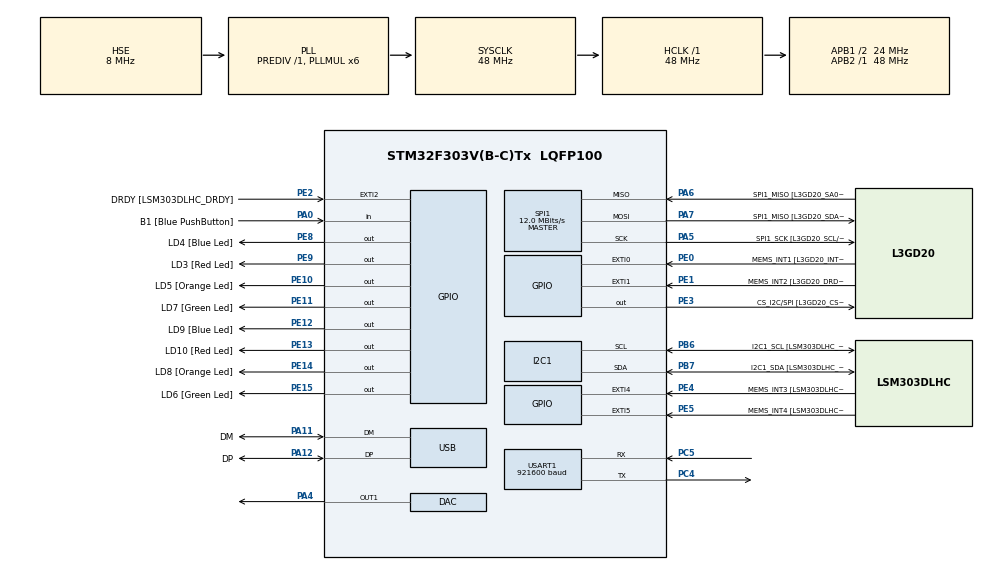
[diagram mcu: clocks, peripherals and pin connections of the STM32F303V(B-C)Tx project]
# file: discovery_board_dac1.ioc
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DAC.DAC_Trigger=DAC_TRIGGER_T6_TRGO
Dma.DAC_CH1.0.Direction=DMA_MEMORY_TO_PERIPH
Dma.DAC_CH1.0.Instance=DMA1_Channel3
Dma.DAC_CH1.0.MemDataAlignment=DMA_MDATAALIGN_HALFWORD
Dma.DAC_CH1.0.MemInc=DMA_MINC_ENABLE
Dma.DAC_CH1.0.Mode=DMA_CIRCULAR
Dma.DAC_CH1.0.PeriphDataAlignment=DMA_PDATAALIGN_HALFWORD
Dma.DAC_CH1.0.PeriphInc=DMA_PINC_DISABLE
Dma.DAC_CH1.0.Priority=DMA_PRIORITY_LOW
Dma.Request0=DAC_CH1
I2C1.Timing=0x00201D2B
I2C1.Timing-I2C=0x2000090E
Mcu.Family=STM32F3
Mcu.Name=STM32F303V(B-C)Tx
Mcu.Package=LQFP100
NVIC.DMA1_Channel3_IRQn=true\:0\:0\:false\:false\:true\:false\:true\:true
NVIC.PriorityGroup=NVIC_PRIORITYGROUP_0
NVIC.TIM6_DAC_IRQn=true\:0\:0\:false\:false\:true\:true\:true\:true
PA0.GPIO_Label=B1 [Blue PushButton]
PA0.Signal=GPIO_Input
PA11.GPIO_Label=DM
PA11.Mode=Device
PA11.Signal=USB_DM
PA12.GPIO_Label=DP
PA12.Mode=Device
PA12.Signal=USB_DP
PA13.GPIO_Label=SWDIO
PA13.Mode=Serial_Wire
PA13.Signal=SYS_JTMS-SWDIO
PA14.GPIO_Label=SWCLK
PA14.Mode=Serial_Wire
PA14.Signal=SYS_JTCK-SWCLK
PA4.Signal=COMP_DAC1_group
PA5.GPIO_Label=SPI1_SCK [L3GD20_SCL/SPC]
PA5.Mode=Full_Duplex_Master
PA5.Signal=SPI1_SCK
PA6.GPIO_Label=SPI1_MISO [L3GD20_SA0/SDO]
PA6.Mode=Full_Duplex_Master
PA6.Signal=SPI1_MISO
PA7.GPIO_Label=SPI1_MISO [L3GD20_SDA/SDI/SDO]
PA7.Mode=Full_Duplex_Master
PA7.Signal=SPI1_MOSI
PB3.GPIO_Label=SWO
PB3.Signal=SYS_JTDO-TRACESWO
PB6.GPIO_Label=I2C1_SCL [LSM303DLHC_SCL]
PB6.GPIO_Pu=GPIO_PULLUP
PB6.Mode=I2C
PB6.Signal=I2C1_SCL
PB7.GPIO_Label=I2C1_SDA [LSM303DLHC_SDA]
PB7.GPIO_Pu=GPIO_PULLUP
PB7.Mode=I2C
PB7.Signal=I2C1_SDA
PC14-OSC32_IN.GPIO_Label=OSC32_IN
PC14-OSC32_IN.Signal=RCC_OSC32_IN
PC15-OSC32_OUT.GPIO_Label=OSC32_OUT
PC15-OSC32_OUT.Signal=RCC_OSC32_OUT
PC4.Mode=Asynchronous
PC4.Signal=USART1_TX
PC5.Mode=Asynchronous
PC5.Signal=USART1_RX
PE0.GPIO_Label=MEMS_INT1 [L3GD20_INT1]
PE0.GPIO_ModeDefaultEXTI=GPIO_MODE_EVT_RISING
PE0.Signal=GPXTI0
PE1.GPIO_Label=MEMS_INT2 [L3GD20_DRDY/INT2]
PE1.GPIO_ModeDefaultEXTI=GPIO_MODE_EVT_RISING
PE1.Signal=GPXTI1
PE10.GPIO_Label=LD5 [Orange Led]
PE10.Signal=GPIO_Output
PE11.GPIO_Label=LD7 [Green Led]
PE11.Signal=GPIO_Output
PE12.GPIO_Label=LD9 [Blue Led]
PE12.Signal=GPIO_Output
PE13.GPIO_Label=LD10 [Red Led]
PE13.Signal=GPIO_Output
PE14.GPIO_Label=LD8 [Orange Led]
PE14.Signal=GPIO_Output
PE15.GPIO_Label=LD6 [Green Led]
PE15.Signal=GPIO_Output
PE2.GPIO_Label=DRDY [LSM303DLHC_DRDY]
PE2.GPIO_ModeDefaultEXTI=GPIO_MODE_EVT_RISING
PE2.Signal=GPXTI2
PE3.GPIO_Label=CS_I2C/SPI [L3GD20_CS_I2C/SPI]
PE3.Signal=GPIO_Output
PE4.GPIO_Label=MEMS_INT3 [LSM303DLHC_INT1]
PE4.GPIO_ModeDefaultEXTI=GPIO_MODE_EVT_RISING
PE4.Signal=GPXTI4
PE5.GPIO_Label=MEMS_INT4 [LSM303DLHC_INT2]
PE5.GPIO_ModeDefaultEXTI=GPIO_MODE_EVT_RISING
PE5.Signal=GPXTI5
PE8.GPIO_Label=LD4 [Blue Led]
PE8.Signal=GPIO_Output
PE9.GPIO_Label=LD3 [Red Led]
PE9.Signal=GPIO_Output
PF0-OSC_IN.GPIO_Label=OSC_IN
PF0-OSC_IN.Mode=HSE-External-Clock-Source
PF0-OSC_IN.Signal=RCC_OSC_IN
PF1-OSC_OUT.GPIO_Label=OSC_OUT
PF1-OSC_OUT.Signal=RCC_OSC_OUT
ProjectManager.HeapSize=0x200
ProjectManager.StackSize=0x400
ProjectManager.TargetToolchain=STM32CubeIDE
RCC.AHBFreq_Value=48000000
RCC.APB1CLKDivider=RCC_HCLK_DIV2
RCC.APB1Freq_Value=24000000
RCC.APB1TimFreq_Value=48000000
RCC.APB2Freq_Value=48000000
RCC.APB2TimFreq_Value=48000000
RCC.CortexFreq_Value=48000000
RCC.HCLKFreq_Value=48000000
RCC.HSE_VALUE=8000000
RCC.HSI_VALUE=8000000
RCC.LSE_VALUE=32768
RCC.PLLMUL=RCC_PLL_MUL6
RCC.SYSCLKFreq_VALUE=48000000
RCC.SYSCLKSourceVirtual=RCC_SYSCLKSOURCE_PLLCLK
RCC.USBFreq_Value=48000000
SH.COMP_DAC1_group.0=DAC_OUT1,DAC_OUT1
SPI1.BaudRatePrescaler=SPI_BAUDRATEPRESCALER_4
SPI1.BaudRatePrescaler-Full_Duplex_Master=SPI_BAUDRATEPRESCALER_2
SPI1.CalculateBaudRate=12.0 MBits/s
SPI1.CalculateBaudRate-Full_Duplex_Master=24.0 MBits/s
SPI1.Direction=SPI_DIRECTION_2LINES
SPI1.Mode=SPI_MODE_MASTER
SPI1.Mode-Full_Duplex_Master=SPI_MODE_MASTER
SPI1.VirtualType=VM_MASTER
STMicroelectronics.FP-SNS-STAIOTCFT.1.0.0.ApplicationOoLibraryJjPreOoProcessing=true
STMicroelectronics.FP-SNS-STAIOTCFT.1.0.0.MathOoLibCcCMSISJjDSPJjInclude=true
TIM6.Period=10 - 1
TIM6.Prescaler=48 - 1
TIM6.TIM_MasterOutputTrigger=TIM_TRGO_UPDATE
USART1.BaudRate=921600
USART1.VirtualMode-Asynchronous=VM_ASYNC
VP_STMicroelectronics.FP-SNS-STAIOTCFT_VS_ApplicationOoLibraryJjPreOoProcessing_1.0.0_1.0.0.Mode=ApplicationOoLibraryJjPreOoProcessing
VP_STMicroelectronics.FP-SNS-STAIOTCFT_VS_CMSISJjMathOoLib_1.0.0_1.0.0.Mode=CMSISJjMathOoLib
VP_TIM6_VS_ClockSourceINT.Mode=Enable_Timer
board=STM32F3DISCOVERY

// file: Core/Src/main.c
/* USER CODE BEGIN Header */
/**
  ******************************************************************************
  * @file           : main.c
  * @brief          : Main program body
  ******************************************************************************
  * @attention
  *
  * Copyright (c) 2025 STMicroelectronics.
  * All rights reserved.
  *
  * This software is licensed under terms that can be found in the LICENSE file
  * in the root directory of this software component.
  * If no LICENSE file comes with this software, it is provided AS-IS.
  *
  ******************************************************************************
  */
/* USER CODE END Header */
#include "main.h"

/* USER CODE BEGIN Includes */
#include <stdio.h>
#include <math.h>
#include "arm_math.h"

/* USER CODE END Includes */

/* USER CODE BEGIN PD */

#define DMA_BUFFER_SIZE 32
#define SAMPLE_FREQ 100000
#define OUTPUT_MID 2048

/* USER CODE END PD */

DAC_HandleTypeDef hdac;
DMA_HandleTypeDef hdma_dac_ch1;

I2C_HandleTypeDef hi2c1;

SPI_HandleTypeDef hspi1;

TIM_HandleTypeDef htim6;

UART_HandleTypeDef huart1;

PCD_HandleTypeDef hpcd_USB_FS;

/* USER CODE BEGIN PV */

const float two_pi = 2 * M_PI;

uint32_t loop_cnt = 0;
uint32_t cb_cnt = 0;
uint32_t cb_half = 0;
uint32_t cb_full = 0;

uint16_t dma_buffer[2 * DMA_BUFFER_SIZE];

float angle = 0;
float angle_change = 100 * (2 * M_PI / SAMPLE_FREQ);

/* USER CODE END PV */

void SystemClock_Config(void);
static void MX_GPIO_Init(void);
static void MX_DMA_Init(void);
static void MX_I2C1_Init(void);
static void MX_SPI1_Init(void);
static void MX_USB_PCD_Init(void);
static void MX_USART1_UART_Init(void);
static void MX_DAC_Init(void);
static void MX_TIM6_Init(void);

/* USER CODE BEGIN 0 */

// Send printf to uart1
int _write(int fd, char* ptr, int len) {
  HAL_StatusTypeDef hstatus;

  if (fd == 1 || fd == 2) {
    hstatus = HAL_UART_Transmit(&huart1, (uint8_t *) ptr, len, HAL_MAX_DELAY);
    if (hstatus == HAL_OK)
      return len;
    else
      return -1;
  }
  return -1;
}

inline void HAL_TIM_PeriodElapsedCallback(TIM_HandleTypeDef *htim) {
	if(htim->Instance == htim6.Instance) {
		++cb_cnt;
	}
}

static inline void do_dac(uint16_t *buffer) {
    for (int i = 0; i < DMA_BUFFER_SIZE; ++i) {
        buffer[i] = OUTPUT_MID - ((OUTPUT_MID * arm_cos_f32(angle)));
        angle += angle_change;
        if (angle >= two_pi) {
            angle -= two_pi;
        }
    }
}

void HAL_DAC_ConvCpltCallbackCh1(DAC_HandleTypeDef *hdac) {
    ++cb_full;
    do_dac(&dma_buffer[DMA_BUFFER_SIZE]);
}

void HAL_DAC_ConvHalfCpltCallbackCh1(DAC_HandleTypeDef *hdac) {
    ++cb_half;
    do_dac(&dma_buffer[0]);
}

/* USER CODE END 0 */

int main(void)
{

  /* MCU Configuration--------------------------------------------------------*/

  /* Reset of all peripherals, Initializes the Flash interface and the Systick. */
  HAL_Init();

  /* Configure the system clock */
  SystemClock_Config();

  /* Initialize all configured peripherals */
  MX_GPIO_Init();
  MX_DMA_Init();
  MX_I2C1_Init();
  MX_SPI1_Init();
  MX_USB_PCD_Init();
  MX_USART1_UART_Init();
  MX_DAC_Init();
  MX_TIM6_Init();
  /* USER CODE BEGIN 2 */

  printf("\n\n\nDAC1 starting\n");

  HAL_TIM_Base_Start_IT(&htim6);

  HAL_DAC_Start_DMA(&hdac, DAC_CHANNEL_1,(uint32_t*) &dma_buffer, 2 * DMA_BUFFER_SIZE, DAC_ALIGN_12B_R);

  /* USER CODE END 2 */

  /* Infinite loop */
  /* USER CODE BEGIN WHILE */

  uint32_t now = 0, next_tick = 1000;
  while (1)
  {
	  now = uwTick;

	  if ( now >= next_tick) {

		  printf("Tick %lu ( loop = %lu cb = %lu half = %lu full = %lu)\n", now / 1000, loop_cnt, cb_cnt, cb_half, cb_full);

		  loop_cnt = 0;
		  next_tick = now + 1000;
	  }

	  ++loop_cnt;
    /* USER CODE END WHILE */

  }
}

void SystemClock_Config(void)
{
  RCC_OscInitTypeDef RCC_OscInitStruct = {0};
  RCC_ClkInitTypeDef RCC_ClkInitStruct = {0};
  RCC_PeriphCLKInitTypeDef PeriphClkInit = {0};

  /** Initializes the RCC Oscillators according to the specified parameters
  * in the RCC_OscInitTypeDef structure.
  */
  RCC_OscInitStruct.OscillatorType = RCC_OSCILLATORTYPE_HSI|RCC_OSCILLATORTYPE_HSE;
  RCC_OscInitStruct.HSEState = RCC_HSE_BYPASS;
  RCC_OscInitStruct.HSEPredivValue = RCC_HSE_PREDIV_DIV1;
  RCC_OscInitStruct.HSIState = RCC_HSI_ON;
  RCC_OscInitStruct.HSICalibrationValue = RCC_HSICALIBRATION_DEFAULT;
  RCC_OscInitStruct.PLL.PLLState = RCC_PLL_ON;
  RCC_OscInitStruct.PLL.PLLSource = RCC_PLLSOURCE_HSE;
  RCC_OscInitStruct.PLL.PLLMUL = RCC_PLL_MUL6;
  if (HAL_RCC_OscConfig(&RCC_OscInitStruct) != HAL_OK)
  {
    Error_Handler();
  }

  /** Initializes the CPU, AHB and APB buses clocks
  */
  RCC_ClkInitStruct.ClockType = RCC_CLOCKTYPE_HCLK|RCC_CLOCKTYPE_SYSCLK
                              |RCC_CLOCKTYPE_PCLK1|RCC_CLOCKTYPE_PCLK2;
  RCC_ClkInitStruct.SYSCLKSource = RCC_SYSCLKSOURCE_PLLCLK;
  RCC_ClkInitStruct.AHBCLKDivider = RCC_SYSCLK_DIV1;
  RCC_ClkInitStruct.APB1CLKDivider = RCC_HCLK_DIV2;
  RCC_ClkInitStruct.APB2CLKDivider = RCC_HCLK_DIV1;

  if (HAL_RCC_ClockConfig(&RCC_ClkInitStruct, FLASH_LATENCY_1) != HAL_OK)
  {
    Error_Handler();
  }
  PeriphClkInit.PeriphClockSelection = RCC_PERIPHCLK_USB|RCC_PERIPHCLK_USART1
                              |RCC_PERIPHCLK_I2C1;
  PeriphClkInit.Usart1ClockSelection = RCC_USART1CLKSOURCE_PCLK2;
  PeriphClkInit.I2c1ClockSelection = RCC_I2C1CLKSOURCE_HSI;
  PeriphClkInit.USBClockSelection = RCC_USBCLKSOURCE_PLL;
  if (HAL_RCCEx_PeriphCLKConfig(&PeriphClkInit) != HAL_OK)
  {
    Error_Handler();
  }
}

static void MX_DAC_Init(void)
{

  DAC_ChannelConfTypeDef sConfig = {0};

  /** DAC Initialization
  */
  hdac.Instance = DAC;
  if (HAL_DAC_Init(&hdac) != HAL_OK)
  {
    Error_Handler();
  }

  /** DAC channel OUT1 config
  */
  sConfig.DAC_Trigger = DAC_TRIGGER_T6_TRGO;
  sConfig.DAC_OutputBuffer = DAC_OUTPUTBUFFER_ENABLE;
  if (HAL_DAC_ConfigChannel(&hdac, &sConfig, DAC_CHANNEL_1) != HAL_OK)
  {
    Error_Handler();
  }

}

static void MX_I2C1_Init(void)
{

  hi2c1.Instance = I2C1;
  hi2c1.Init.Timing = 0x00201D2B;
  hi2c1.Init.OwnAddress1 = 0;
  hi2c1.Init.AddressingMode = I2C_ADDRESSINGMODE_7BIT;
  hi2c1.Init.DualAddressMode = I2C_DUALADDRESS_DISABLE;
  hi2c1.Init.OwnAddress2 = 0;
  hi2c1.Init.OwnAddress2Masks = I2C_OA2_NOMASK;
  hi2c1.Init.GeneralCallMode = I2C_GENERALCALL_DISABLE;
  hi2c1.Init.NoStretchMode = I2C_NOSTRETCH_DISABLE;
  if (HAL_I2C_Init(&hi2c1) != HAL_OK)
  {
    Error_Handler();
  }

  /** Configure Analogue filter
  */
  if (HAL_I2CEx_ConfigAnalogFilter(&hi2c1, I2C_ANALOGFILTER_ENABLE) != HAL_OK)
  {
    Error_Handler();
  }

  /** Configure Digital filter
  */
  if (HAL_I2CEx_ConfigDigitalFilter(&hi2c1, 0) != HAL_OK)
  {
    Error_Handler();
  }

}

static void MX_SPI1_Init(void)
{

  /* SPI1 parameter configuration*/
  hspi1.Instance = SPI1;
  hspi1.Init.Mode = SPI_MODE_MASTER;
  hspi1.Init.Direction = SPI_DIRECTION_2LINES;
  hspi1.Init.DataSize = SPI_DATASIZE_4BIT;
  hspi1.Init.CLKPolarity = SPI_POLARITY_LOW;
  hspi1.Init.CLKPhase = SPI_PHASE_1EDGE;
  hspi1.Init.NSS = SPI_NSS_SOFT;
  hspi1.Init.BaudRatePrescaler = SPI_BAUDRATEPRESCALER_4;
  hspi1.Init.FirstBit = SPI_FIRSTBIT_MSB;
  hspi1.Init.TIMode = SPI_TIMODE_DISABLE;
  hspi1.Init.CRCCalculation = SPI_CRCCALCULATION_DISABLE;
  hspi1.Init.CRCPolynomial = 7;
  hspi1.Init.CRCLength = SPI_CRC_LENGTH_DATASIZE;
  hspi1.Init.NSSPMode = SPI_NSS_PULSE_ENABLE;
  if (HAL_SPI_Init(&hspi1) != HAL_OK)
  {
    Error_Handler();
  }

}

static void MX_TIM6_Init(void)
{

  TIM_MasterConfigTypeDef sMasterConfig = {0};

  htim6.Instance = TIM6;
  htim6.Init.Prescaler = 48 - 1;
  htim6.Init.CounterMode = TIM_COUNTERMODE_UP;
  htim6.Init.Period = 10 - 1;
  htim6.Init.AutoReloadPreload = TIM_AUTORELOAD_PRELOAD_DISABLE;
  if (HAL_TIM_Base_Init(&htim6) != HAL_OK)
  {
    Error_Handler();
  }
  sMasterConfig.MasterOutputTrigger = TIM_TRGO_UPDATE;
  sMasterConfig.MasterSlaveMode = TIM_MASTERSLAVEMODE_DISABLE;
  if (HAL_TIMEx_MasterConfigSynchronization(&htim6, &sMasterConfig) != HAL_OK)
  {
    Error_Handler();
  }

}

static void MX_USART1_UART_Init(void)
{

  huart1.Instance = USART1;
  huart1.Init.BaudRate = 921600;
  huart1.Init.WordLength = UART_WORDLENGTH_8B;
  huart1.Init.StopBits = UART_STOPBITS_1;
  huart1.Init.Parity = UART_PARITY_NONE;
  huart1.Init.Mode = UART_MODE_TX_RX;
  huart1.Init.HwFlowCtl = UART_HWCONTROL_NONE;
  huart1.Init.OverSampling = UART_OVERSAMPLING_16;
  huart1.Init.OneBitSampling = UART_ONE_BIT_SAMPLE_DISABLE;
  huart1.AdvancedInit.AdvFeatureInit = UART_ADVFEATURE_NO_INIT;
  if (HAL_UART_Init(&huart1) != HAL_OK)
  {
    Error_Handler();
  }

}

static void MX_USB_PCD_Init(void)
{

  hpcd_USB_FS.Instance = USB;
  hpcd_USB_FS.Init.dev_endpoints = 8;
  hpcd_USB_FS.Init.speed = PCD_SPEED_FULL;
  hpcd_USB_FS.Init.phy_itface = PCD_PHY_EMBEDDED;
  hpcd_USB_FS.Init.low_power_enable = DISABLE;
  hpcd_USB_FS.Init.battery_charging_enable = DISABLE;
  if (HAL_PCD_Init(&hpcd_USB_FS) != HAL_OK)
  {
    Error_Handler();
  }

}

static void MX_DMA_Init(void)
{

  /* DMA controller clock enable */
  __HAL_RCC_DMA1_CLK_ENABLE();

  /* DMA interrupt init */
  /* DMA1_Channel3_IRQn interrupt configuration */
  HAL_NVIC_SetPriority(DMA1_Channel3_IRQn, 0, 0);
  HAL_NVIC_EnableIRQ(DMA1_Channel3_IRQn);

}

static void MX_GPIO_Init(void)
{
  GPIO_InitTypeDef GPIO_InitStruct = {0};

  /* GPIO Ports Clock Enable */
  __HAL_RCC_GPIOE_CLK_ENABLE();
  __HAL_RCC_GPIOC_CLK_ENABLE();
  __HAL_RCC_GPIOF_CLK_ENABLE();
  __HAL_RCC_GPIOA_CLK_ENABLE();
  __HAL_RCC_GPIOB_CLK_ENABLE();

  /*Configure GPIO pin Output Level */
  HAL_GPIO_WritePin(GPIOE, CS_I2C_SPI_Pin|LD4_Pin|LD3_Pin|LD5_Pin
                          |LD7_Pin|LD9_Pin|LD10_Pin|LD8_Pin
                          |LD6_Pin, GPIO_PIN_RESET);

  /*Configure GPIO pins : DRDY_Pin MEMS_INT3_Pin MEMS_INT4_Pin MEMS_INT1_Pin
                           MEMS_INT2_Pin */
  GPIO_InitStruct.Pin = DRDY_Pin|MEMS_INT3_Pin|MEMS_INT4_Pin|MEMS_INT1_Pin
                          |MEMS_INT2_Pin;
  GPIO_InitStruct.Mode = GPIO_MODE_EVT_RISING;
  GPIO_InitStruct.Pull = GPIO_NOPULL;
  HAL_GPIO_Init(GPIOE, &GPIO_InitStruct);

  /*Configure GPIO pins : CS_I2C_SPI_Pin LD4_Pin LD3_Pin LD5_Pin
                           LD7_Pin LD9_Pin LD10_Pin LD8_Pin
                           LD6_Pin */
  GPIO_InitStruct.Pin = CS_I2C_SPI_Pin|LD4_Pin|LD3_Pin|LD5_Pin
                          |LD7_Pin|LD9_Pin|LD10_Pin|LD8_Pin
                          |LD6_Pin;
  GPIO_InitStruct.Mode = GPIO_MODE_OUTPUT_PP;
  GPIO_InitStruct.Pull = GPIO_NOPULL;
  GPIO_InitStruct.Speed = GPIO_SPEED_FREQ_LOW;
  HAL_GPIO_Init(GPIOE, &GPIO_InitStruct);

  /*Configure GPIO pin : B1_Pin */
  GPIO_InitStruct.Pin = B1_Pin;
  GPIO_InitStruct.Mode = GPIO_MODE_INPUT;
  GPIO_InitStruct.Pull = GPIO_NOPULL;
  HAL_GPIO_Init(B1_GPIO_Port, &GPIO_InitStruct);

}

void Error_Handler(void)
{
  __disable_irq();
  while (1)
  {
  }
}
